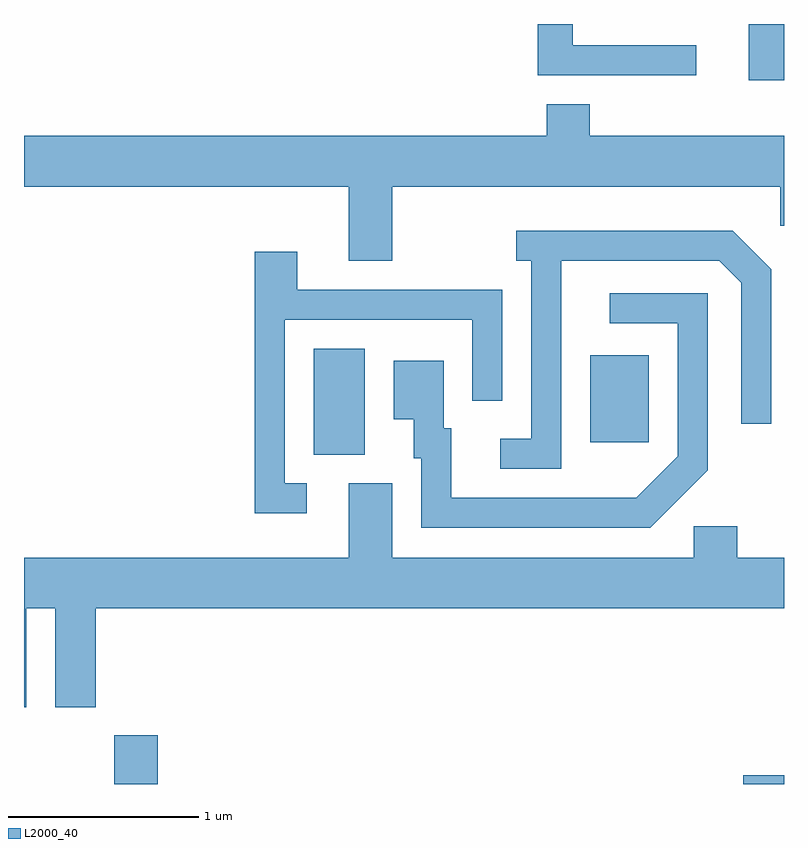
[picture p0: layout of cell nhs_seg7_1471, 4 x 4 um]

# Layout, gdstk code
import gdstk
lib = gdstk.Library(unit=1e-6, precision=1e-09)
def R(c, l, rs):  # rectangles x0, y0, x1, y1
    for r in rs: c.add(gdstk.rectangle(r[:2], r[2:], *l))
def P(c, l, *ps):  # polygons
    for p in ps: c.add(gdstk.Polygon(p, *l))
L2000_40 = (2000, 40)

nhs_seg7_1471 = lib.new_cell('nhs_seg7_1471')
R(nhs_seg7_1471, L2000_40, [(230.086,1742.252,230.314,1742.509), (233.396,1742.252,233.611,1742.299), (231.136,1743.986,231.404,1744.544), (232.591,1744.051,232.899,1744.509), (233.426,1745.956,233.611,1746.252)])
P(nhs_seg7_1471, L2000_40, [(233.148,1746.139),(232.499,1746.139),(232.499,1746.252),(232.316,1746.252),(232.316,1745.981),(233.148,1745.981)],
  [(231.549,1745.396),(233.591,1745.396),(233.591,1745.191),(233.611,1745.191),(233.611,1745.664),(232.589,1745.664),(232.589,1745.829),(232.361,1745.829),(232.361,1745.664),(229.611,1745.664),(229.611,1745.396),(231.321,1745.396),(231.321,1745.006),(231.549,1745.006)],
  [(232.439,1745.006),(233.269,1745.006),(233.386,1744.889),(233.386,1744.148),(233.544,1744.148),(233.544,1744.962),(233.342,1745.164),(232.203,1745.164),(232.203,1745.006),(232.281,1745.006),(232.281,1744.069),(232.118,1744.069),(232.118,1743.911),(232.439,1743.911)],
  [(231.098,1743.834),(230.984,1743.834),(230.984,1744.696),(231.971,1744.696),(231.971,1744.268),(232.129,1744.268),(232.129,1744.854),(231.049,1744.854),(231.049,1745.054),(230.826,1745.054),(230.826,1743.676),(231.098,1743.676)],
  [(233.209,1743.904),(233.209,1744.834),(232.693,1744.834),(232.693,1744.676),(233.051,1744.676),(233.051,1743.977),(232.834,1743.759),(231.859,1743.759),(231.859,1744.124),(231.819,1744.124),(231.819,1744.479),(231.556,1744.479),(231.556,1744.171),(231.661,1744.171),(231.661,1743.966),(231.701,1743.966),(231.701,1743.601),(232.907,1743.601)],
  [(229.624,1743.176),(229.776,1743.176),(229.776,1742.656),(229.989,1742.656),(229.989,1743.176),(233.611,1743.176),(233.611,1743.444),(233.364,1743.444),(233.364,1743.609),(233.136,1743.609),(233.136,1743.444),(231.549,1743.444),(231.549,1743.834),(231.321,1743.834),(231.321,1743.444),(229.611,1743.444),(229.611,1742.656),(229.624,1742.656)])

lib.write_gds('nhs_seg7_1471.gds')
